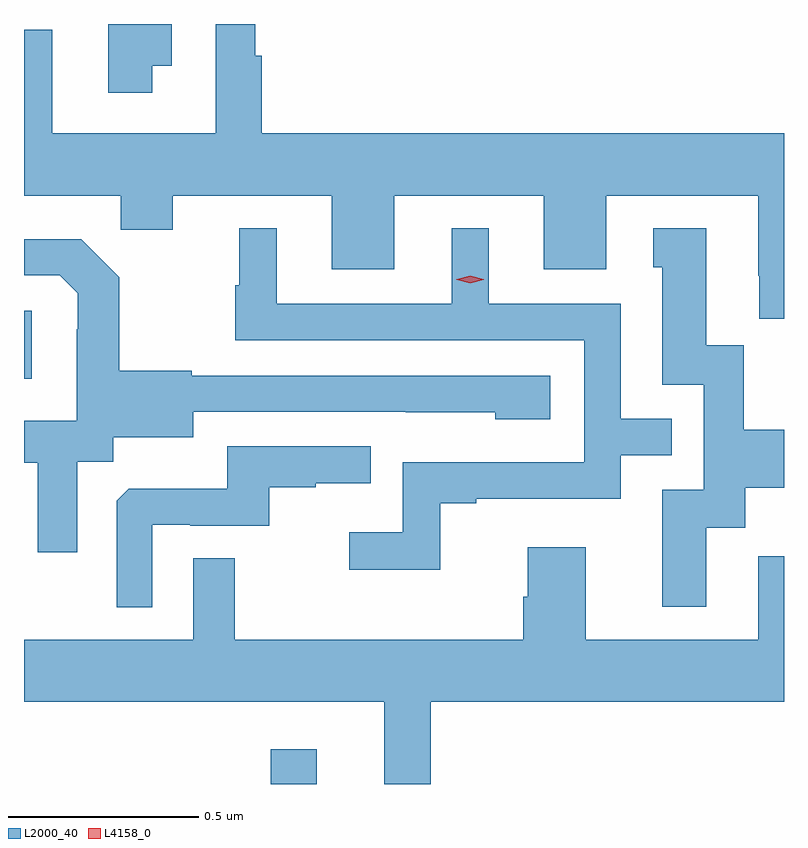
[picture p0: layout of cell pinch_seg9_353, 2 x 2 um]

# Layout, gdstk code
import gdstk
lib = gdstk.Library(unit=1e-6, precision=1e-09)
def R(c, l, rs):  # rectangles x0, y0, x1, y1
    for r in rs: c.add(gdstk.rectangle(r[:2], r[2:], *l))
def P(c, l, *ps):  # polygons
    for p in ps: c.add(gdstk.Polygon(p, *l))
L2000_40 = (2000, 40)
L4158_0 = (4158, 0)

pinch_seg9_353 = lib.new_cell('pinch_seg9_353')
R(pinch_seg9_353, L2000_40, [(546.888,1168.232,547.009,1168.324), (546.239,1169.298,546.259,1169.478)])
P(pinch_seg9_353, L2000_40, [(546.577,1170.122),(546.628,1170.122),(546.628,1170.232),(546.461,1170.232),(546.461,1170.051),(546.577,1170.051)],
  [(546.743,1170.232),(546.743,1169.944),(546.313,1169.944),(546.313,1170.217),(546.239,1170.217),(546.239,1169.78),(546.493,1169.78),(546.493,1169.69),(546.631,1169.69),(546.631,1169.78),(547.049,1169.78),(547.049,1169.586),(547.213,1169.586),(547.213,1169.78),(547.607,1169.78),(547.607,1169.586),(547.771,1169.586),(547.771,1169.78),(548.171,1169.78),(548.171,1169.569),(548.174,1169.569),(548.174,1169.457),(548.239,1169.457),(548.239,1169.944),(546.865,1169.944),(546.865,1170.149),(546.847,1170.149),(546.847,1170.232)],
  [(548.035,1168.906),(548.137,1168.906),(548.137,1169.012),(548.239,1169.012),(548.239,1169.164),(548.133,1169.164),(548.133,1169.387),(548.035,1169.387),(548.035,1169.695),(547.895,1169.695),(547.895,1169.592),(547.919,1169.592),(547.919,1169.283),(548.028,1169.283),(548.028,1169.007),(547.919,1169.007),(547.919,1168.698),(548.035,1168.698)],
  [(547.335,1168.971),(547.429,1168.971),(547.429,1168.983),(547.809,1168.983),(547.809,1169.097),(547.943,1169.097),(547.943,1169.193),(547.809,1169.193),(547.809,1169.496),(547.462,1169.496),(547.462,1169.695),(547.364,1169.695),(547.364,1169.496),(546.904,1169.496),(546.904,1169.695),(546.806,1169.695),(546.806,1169.544),(546.795,1169.544),(546.795,1169.4),(547.713,1169.4),(547.713,1169.079),(547.236,1169.079),(547.236,1168.894),(547.095,1168.894),(547.095,1168.796),(547.335,1168.796)],
  [(546.379,1169.08),(546.474,1169.08),(546.474,1169.144),(546.685,1169.144),(546.685,1169.211),(547.243,1169.211),(547.243,1169.21),(547.479,1169.21),(547.479,1169.192),(547.624,1169.192),(547.624,1169.307),(546.681,1169.307),(546.681,1169.32),(546.489,1169.32),(546.489,1169.565),(546.389,1169.665),(546.239,1169.665),(546.239,1169.571),(546.333,1169.571),(546.38,1169.524),(546.38,1169.429),(546.378,1169.429),(546.378,1169.188),(546.239,1169.188),(546.239,1169.078),(546.275,1169.078),(546.275,1168.842),(546.379,1168.842)],
  [(546.576,1168.914),(546.676,1168.914),(546.676,1168.911),(546.884,1168.911),(546.884,1169.013),(547.007,1169.013),(547.007,1169.024),(547.151,1169.024),(547.151,1169.121),(546.774,1169.121),(546.774,1169.009),(546.515,1169.009),(546.483,1168.977),(546.483,1168.697),(546.576,1168.697)],
  [(547.309,1168.448),(548.239,1168.448),(548.239,1168.831),(548.171,1168.831),(548.171,1168.612),(547.717,1168.612),(547.717,1168.855),(547.565,1168.855),(547.565,1168.725),(547.553,1168.725),(547.553,1168.612),(546.793,1168.612),(546.793,1168.826),(546.684,1168.826),(546.684,1168.612),(546.239,1168.612),(546.239,1168.448),(547.187,1168.448),(547.187,1168.232),(547.309,1168.232)])
P(pinch_seg9_353, L4158_0, [(547.413,1169.55),(547.378,1169.559),(547.377,1169.56),(547.378,1169.56),(547.413,1169.57),(547.449,1169.56),(547.449,1169.56),(547.449,1169.559)])

lib.write_gds('pinch_seg9_353.gds')
